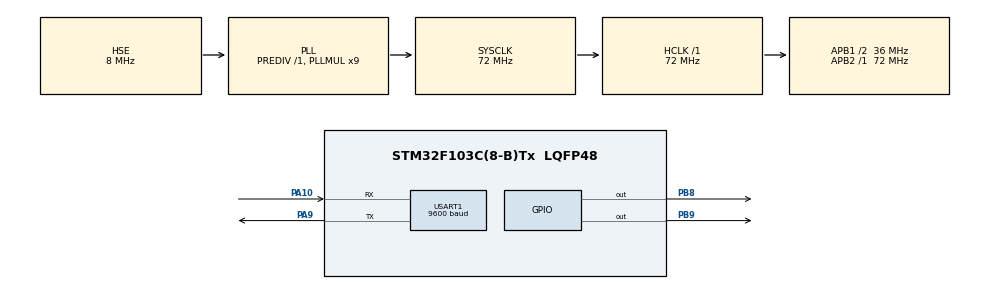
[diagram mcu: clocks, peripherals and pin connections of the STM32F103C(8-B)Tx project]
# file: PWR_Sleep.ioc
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Mcu.Family=STM32F1
Mcu.Name=STM32F103C(8-B)Tx
Mcu.Package=LQFP48
NVIC.PriorityGroup=NVIC_PRIORITYGROUP_4
NVIC.USART1_IRQn=true\:0\:0\:false\:false\:true\:true\:true\:true
PA10.Mode=Asynchronous
PA10.Signal=USART1_RX
PA13.Mode=Serial_Wire
PA13.Signal=SYS_JTMS-SWDIO
PA14.Mode=Serial_Wire
PA14.Signal=SYS_JTCK-SWCLK
PA9.Mode=Asynchronous
PA9.Signal=USART1_TX
PB8.GPIO_ModeDefaultOutputPP=GPIO_MODE_OUTPUT_OD
PB8.GPIO_PuPd=GPIO_NOPULL
PB8.Signal=GPIO_Output
PB9.GPIO_ModeDefaultOutputPP=GPIO_MODE_OUTPUT_OD
PB9.GPIO_PuPd=GPIO_NOPULL
PB9.Signal=GPIO_Output
PD0-OSC_IN.Mode=HSE-External-Oscillator
PD0-OSC_IN.Signal=RCC_OSC_IN
PD1-OSC_OUT.Mode=HSE-External-Oscillator
PD1-OSC_OUT.Signal=RCC_OSC_OUT
ProjectManager.HeapSize=0x200
ProjectManager.StackSize=0x400
ProjectManager.TargetToolchain=STM32CubeIDE
RCC.AHBFreq_Value=72000000
RCC.APB1CLKDivider=RCC_HCLK_DIV2
RCC.APB1Freq_Value=36000000
RCC.APB1TimFreq_Value=72000000
RCC.APB2Freq_Value=72000000
RCC.APB2TimFreq_Value=72000000
RCC.HCLKFreq_Value=72000000
RCC.PLLMUL=RCC_PLL_MUL9
RCC.PLLSourceVirtual=RCC_PLLSOURCE_HSE
RCC.SYSCLKFreq_VALUE=72000000
RCC.SYSCLKSource=RCC_SYSCLKSOURCE_PLLCLK
RCC.USBFreq_Value=72000000
USART1.BaudRate=9600
USART1.VirtualMode=VM_ASYNC
VP_RTC_VS_RTC_Activate.Mode=RTC_Enabled
board=custom

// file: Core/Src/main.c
/* USER CODE BEGIN Header */
/**
  ******************************************************************************
  * @file           : main.c
  * @brief          : Main program body
  ******************************************************************************
  * @attention
  *
  * Copyright (c) 2026 STMicroelectronics.
  * All rights reserved.
  *
  * This software is licensed under terms that can be found in the LICENSE file
  * in the root directory of this software component.
  * If no LICENSE file comes with this software, it is provided AS-IS.
  *
  ******************************************************************************
  */
/* USER CODE END Header */
#include "main.h"
#include "rtc.h"
#include "usart.h"
#include "gpio.h"

/* USER CODE BEGIN Includes */
#include "OLED.h"
/* USER CODE END Includes */

/* USER CODE BEGIN PV */
uint8_t RXData=0;
/* USER CODE END PV */

void SystemClock_Config(void);

/* USER CODE BEGIN 0 */
void HAL_UART_RxCpltCallback(UART_HandleTypeDef *huart)
{
	if(huart->Instance==USART1)
	{
		HAL_UART_Transmit(&huart1,&RXData,1,HAL_MAX_DELAY);
		HAL_UART_Receive_IT(&huart1,&RXData,1);
	}
}
/* USER CODE END 0 */

int main(void)
{

  /* MCU Configuration--------------------------------------------------------*/

  /* Reset of all peripherals, Initializes the Flash interface and the Systick. */
  HAL_Init();

  /* USER CODE BEGIN Init */
  OLED_Init();
  /* USER CODE END Init */

  /* Configure the system clock */
  SystemClock_Config();

  /* Initialize all configured peripherals */
  MX_GPIO_Init();
  MX_RTC_Init();
  MX_USART1_UART_Init();
  /* USER CODE BEGIN 2 */

  HAL_UART_Receive_IT(&huart1,&RXData,1);
  /* USER CODE END 2 */

  /* Infinite loop */
  /* USER CODE BEGIN WHILE */
  while (1)
  {
	  OLED_ShowNum(1,1,RXData,4);
	  OLED_ShowString(2,1,"runing");
	  HAL_Delay(500);
	  OLED_ShowString(2,1,"      ");
	  HAL_Delay(500);

	  //暂停 SysTick 中断
	  HAL_SuspendTick();
	  // 进入睡眠模式，主调压器保持开启，使用WFI命令进入睡眠模式
	  HAL_PWR_EnterSLEEPMode(PWR_MAINREGULATOR_ON, PWR_SLEEPENTRY_WFI);
	  //恢复 SysTick 中断
	  HAL_ResumeTick();
    /* USER CODE END WHILE */

  }
}

void SystemClock_Config(void)
{
  RCC_OscInitTypeDef RCC_OscInitStruct = {0};
  RCC_ClkInitTypeDef RCC_ClkInitStruct = {0};
  RCC_PeriphCLKInitTypeDef PeriphClkInit = {0};

  /** Initializes the RCC Oscillators according to the specified parameters
  * in the RCC_OscInitTypeDef structure.
  */
  RCC_OscInitStruct.OscillatorType = RCC_OSCILLATORTYPE_LSI|RCC_OSCILLATORTYPE_HSE;
  RCC_OscInitStruct.HSEState = RCC_HSE_ON;
  RCC_OscInitStruct.HSEPredivValue = RCC_HSE_PREDIV_DIV1;
  RCC_OscInitStruct.HSIState = RCC_HSI_ON;
  RCC_OscInitStruct.LSIState = RCC_LSI_ON;
  RCC_OscInitStruct.PLL.PLLState = RCC_PLL_ON;
  RCC_OscInitStruct.PLL.PLLSource = RCC_PLLSOURCE_HSE;
  RCC_OscInitStruct.PLL.PLLMUL = RCC_PLL_MUL9;
  if (HAL_RCC_OscConfig(&RCC_OscInitStruct) != HAL_OK)
  {
    Error_Handler();
  }

  /** Initializes the CPU, AHB and APB buses clocks
  */
  RCC_ClkInitStruct.ClockType = RCC_CLOCKTYPE_HCLK|RCC_CLOCKTYPE_SYSCLK
                              |RCC_CLOCKTYPE_PCLK1|RCC_CLOCKTYPE_PCLK2;
  RCC_ClkInitStruct.SYSCLKSource = RCC_SYSCLKSOURCE_PLLCLK;
  RCC_ClkInitStruct.AHBCLKDivider = RCC_SYSCLK_DIV1;
  RCC_ClkInitStruct.APB1CLKDivider = RCC_HCLK_DIV2;
  RCC_ClkInitStruct.APB2CLKDivider = RCC_HCLK_DIV1;

  if (HAL_RCC_ClockConfig(&RCC_ClkInitStruct, FLASH_LATENCY_2) != HAL_OK)
  {
    Error_Handler();
  }
  PeriphClkInit.PeriphClockSelection = RCC_PERIPHCLK_RTC;
  PeriphClkInit.RTCClockSelection = RCC_RTCCLKSOURCE_LSI;
  if (HAL_RCCEx_PeriphCLKConfig(&PeriphClkInit) != HAL_OK)
  {
    Error_Handler();
  }
}

void Error_Handler(void)
{
  __disable_irq();
  while (1)
  {
  }
}
